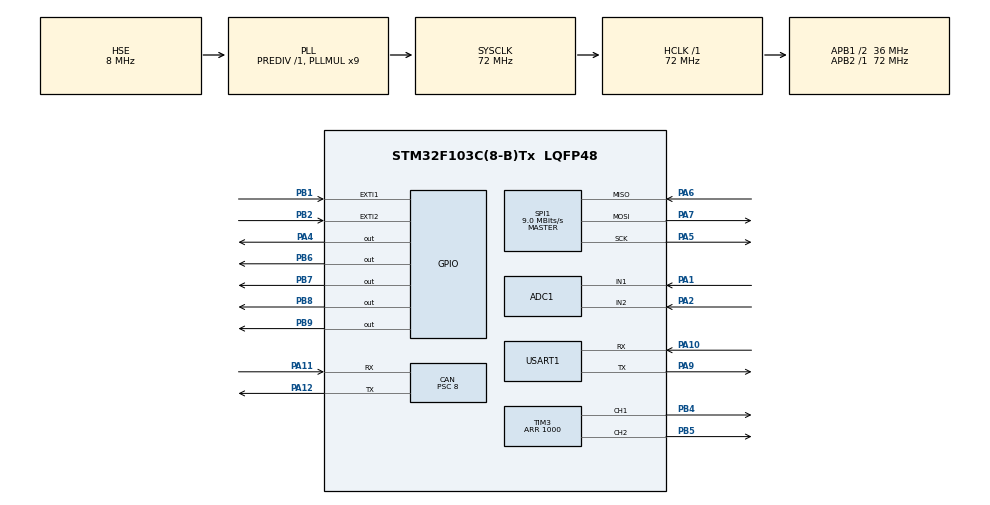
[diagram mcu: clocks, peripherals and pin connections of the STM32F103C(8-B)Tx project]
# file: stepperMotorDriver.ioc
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ADC1.Channel-0\#ChannelRegularConversion=ADC_CHANNEL_1
ADC1.NbrOfConversionFlag=1
ADC1.Rank-0\#ChannelRegularConversion=1
ADC1.SamplingTime-0\#ChannelRegularConversion=ADC_SAMPLETIME_1CYCLE_5
ADC1.master=1
CAN.BS1=CAN_BS1_1TQ
CAN.BS2=CAN_BS2_1TQ
CAN.CalculateBaudRate=1499999
CAN.CalculateTimeBit=666
CAN.CalculateTimeQuantum=222.22222222222223
CAN.Prescaler=8
Dma.Request0=USART1_RX
Dma.Request1=USART1_TX
Dma.USART1_RX.0.Direction=DMA_PERIPH_TO_MEMORY
Dma.USART1_RX.0.Instance=DMA1_Channel5
Dma.USART1_RX.0.MemDataAlignment=DMA_MDATAALIGN_BYTE
Dma.USART1_RX.0.MemInc=DMA_MINC_ENABLE
Dma.USART1_RX.0.Mode=DMA_NORMAL
Dma.USART1_RX.0.PeriphDataAlignment=DMA_PDATAALIGN_BYTE
Dma.USART1_RX.0.PeriphInc=DMA_PINC_DISABLE
Dma.USART1_RX.0.Priority=DMA_PRIORITY_LOW
Dma.USART1_TX.1.Direction=DMA_MEMORY_TO_PERIPH
Dma.USART1_TX.1.Instance=DMA1_Channel4
Dma.USART1_TX.1.MemDataAlignment=DMA_MDATAALIGN_BYTE
Dma.USART1_TX.1.MemInc=DMA_MINC_ENABLE
Dma.USART1_TX.1.Mode=DMA_NORMAL
Dma.USART1_TX.1.PeriphDataAlignment=DMA_PDATAALIGN_BYTE
Dma.USART1_TX.1.PeriphInc=DMA_PINC_DISABLE
Dma.USART1_TX.1.Priority=DMA_PRIORITY_LOW
Mcu.Family=STM32F1
Mcu.Name=STM32F103C(8-B)Tx
Mcu.Package=LQFP48
NVIC.DMA1_Channel4_IRQn=true\:0\:0\:false\:false\:true\:false\:true\:true
NVIC.DMA1_Channel5_IRQn=true\:0\:0\:false\:false\:true\:false\:true\:true
NVIC.EXTI1_IRQn=true\:0\:0\:false\:false\:true\:true\:true\:true
NVIC.EXTI2_IRQn=true\:0\:0\:false\:false\:true\:true\:true\:true
NVIC.PriorityGroup=NVIC_PRIORITYGROUP_4
NVIC.TIM1_UP_IRQn=true\:2\:0\:true\:false\:true\:true\:true\:true
NVIC.TIM2_IRQn=true\:2\:0\:true\:false\:true\:true\:true\:true
NVIC.TIM4_IRQn=true\:2\:0\:true\:false\:true\:true\:true\:true
NVIC.USART1_IRQn=true\:0\:0\:false\:false\:true\:true\:true\:true
NVIC.USB_LP_CAN1_RX0_IRQn=true\:0\:0\:false\:false\:true\:true\:true\:true
PA1.Signal=ADCx_IN1
PA10.Mode=Asynchronous
PA10.Signal=USART1_RX
PA11.Mode=CAN_Activate
PA11.Signal=CAN_RX
PA12.Mode=CAN_Activate
PA12.Signal=CAN_TX
PA13.Mode=JTAG_4_pins
PA13.Signal=SYS_JTMS-SWDIO
PA14.Mode=JTAG_4_pins
PA14.Signal=SYS_JTCK-SWCLK
PA15.Mode=JTAG_4_pins
PA15.Signal=SYS_JTDI
PA2.Signal=ADCx_IN2
PA4.Signal=GPIO_Output
PA5.Mode=Full_Duplex_Master
PA5.Signal=SPI1_SCK
PA6.Mode=Full_Duplex_Master
PA6.Signal=SPI1_MISO
PA7.Mode=Full_Duplex_Master
PA7.Signal=SPI1_MOSI
PA9.Mode=Asynchronous
PA9.Signal=USART1_TX
PB1.Signal=GPXTI1
PB2.Signal=GPXTI2
PB3.Mode=JTAG_4_pins
PB3.Signal=SYS_JTDO-TRACESWO
PB4.Signal=S_TIM3_CH1
PB5.Signal=S_TIM3_CH2
PB6.Signal=GPIO_Output
PB7.Signal=GPIO_Output
PB8.Signal=GPIO_Output
PB9.Signal=GPIO_Output
PD0-OSC_IN.Mode=HSE-External-Oscillator
PD0-OSC_IN.Signal=RCC_OSC_IN
PD1-OSC_OUT.Mode=HSE-External-Oscillator
PD1-OSC_OUT.Signal=RCC_OSC_OUT
ProjectManager.HeapSize=0x200
ProjectManager.StackSize=0x400
ProjectManager.TargetToolchain=CMake
RCC.ADCPresc=RCC_ADCPCLK2_DIV6
RCC.AHBFreq_Value=72000000
RCC.APB1CLKDivider=RCC_HCLK_DIV2
RCC.APB1Freq_Value=36000000
RCC.APB1TimFreq_Value=72000000
RCC.APB2Freq_Value=72000000
RCC.APB2TimFreq_Value=72000000
RCC.HCLKFreq_Value=72000000
RCC.PLLMUL=RCC_PLL_MUL9
RCC.PLLSourceVirtual=RCC_PLLSOURCE_HSE
RCC.SYSCLKFreq_VALUE=72000000
RCC.SYSCLKSource=RCC_SYSCLKSOURCE_PLLCLK
RCC.USBFreq_Value=72000000
SH.ADCx_IN1.0=ADC1_IN1,IN1
SH.ADCx_IN2.0=ADC1_IN2,IN2
SH.S_TIM3_CH1.0=TIM3_CH1,PWM Generation1 CH1
SH.S_TIM3_CH2.0=TIM3_CH2,PWM Generation2 CH2
SPI1.BaudRatePrescaler=SPI_BAUDRATEPRESCALER_8
SPI1.CLKPhase=SPI_PHASE_2EDGE
SPI1.CLKPolarity=SPI_POLARITY_HIGH
SPI1.CalculateBaudRate=9.0 MBits/s
SPI1.DataSize=SPI_DATASIZE_16BIT
SPI1.Direction=SPI_DIRECTION_2LINES
SPI1.Mode=SPI_MODE_MASTER
SPI1.VirtualType=VM_MASTER
TIM1.Period=10000-1
TIM1.Prescaler=72-1
TIM2.Period=50-1
TIM2.Prescaler=72-1
TIM3.Channel-PWM\ Generation1\ CH1=TIM_CHANNEL_1
TIM3.Channel-PWM\ Generation2\ CH2=TIM_CHANNEL_2
TIM3.Period=1000
TIM4.Period=5000
TIM4.Prescaler=7200-1
USART1.VirtualMode=VM_ASYNC
VP_TIM1_VS_ClockSourceINT.Mode=Internal
VP_TIM2_VS_ClockSourceINT.Mode=Internal
VP_TIM4_VS_ClockSourceINT.Mode=Internal
board=custom

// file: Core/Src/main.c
/* USER CODE BEGIN Header */
/**
  ******************************************************************************
  * @file           : main.c
  * @brief          : Main program body
  ******************************************************************************
  * @attention
  *
  * Copyright (c) 2024 STMicroelectronics.
  * All rights reserved.
  *
  * This software is licensed under terms that can be found in the LICENSE file
  * in the root directory of this software component.
  * If no LICENSE file comes with this software, it is provided AS-IS.
  *
  ******************************************************************************
  */
/* USER CODE END Header */
#include "main.h"

/* USER CODE BEGIN Includes */
//#include "utils.h"

// #include "adc.h"
// #include "can.h"
// #include "dma.h"
// #include "spi.h"
// #include "tim.h"
// #include "usart.h"
// #include "gpio.h"
/* USER CODE END Includes */

/* USER CODE BEGIN PTD */

#ifndef __cplusplus
#ifndef _BOOL
typedef unsigned char bool;
static const bool False = 0;
static const bool True = 1;
#endif
#endif

#define AIN1_Pin GPIO_PIN_6
#define AIN2_Pin GPIO_PIN_7
#define BIN1_Pin GPIO_PIN_8
#define BIN2_Pin GPIO_PIN_9

/* USER CODE END PTD */

ADC_HandleTypeDef hadc1;

CAN_HandleTypeDef hcan;

SPI_HandleTypeDef hspi1;

TIM_HandleTypeDef htim1;
TIM_HandleTypeDef htim2;
TIM_HandleTypeDef htim3;
TIM_HandleTypeDef htim4;

UART_HandleTypeDef huart1;
DMA_HandleTypeDef hdma_usart1_rx;
DMA_HandleTypeDef hdma_usart1_tx;

void SystemClock_Config(void);
static void MX_GPIO_Init(void);
static void MX_DMA_Init(void);
static void MX_ADC1_Init(void);
static void MX_CAN_Init(void);
static void MX_SPI1_Init(void);
static void MX_TIM3_Init(void);
static void MX_USART1_UART_Init(void);
static void MX_TIM1_Init(void);
static void MX_TIM2_Init(void);
static void MX_TIM4_Init(void);
/* USER CODE BEGIN PFP */
uint16_t MT6816Read();
void stepMotor(int step);
void stepMotorStop();
/* USER CODE END PFP */

int main(void)
{

  /* MCU Configuration--------------------------------------------------------*/

  /* Reset of all peripherals, Initializes the Flash interface and the Systick. */
  HAL_Init();

  /* Configure the system clock */
  SystemClock_Config();

  /* Initialize all configured peripherals */
  MX_GPIO_Init();
  MX_DMA_Init();
  MX_ADC1_Init();
  MX_CAN_Init();
  MX_SPI1_Init();
  MX_TIM3_Init();
  MX_USART1_UART_Init();
  MX_TIM1_Init();
  MX_TIM2_Init();
  MX_TIM4_Init();
  /* USER CODE BEGIN 2 */

    // 设置GPIO
  //printf(" 0GPIO PB8 set to high\n");
  HAL_GPIO_WritePin(GPIOB, GPIO_PIN_8, GPIO_PIN_SET);
  //printf(" 1GPIO PB9 set to high\n");
  HAL_GPIO_WritePin(GPIOB, GPIO_PIN_9, GPIO_PIN_SET);
  GPIO_PinState pinState;

  // 设置PWM
  HAL_TIM_PWM_Start(&htim3, TIM_CHANNEL_1);  // 启动通道 1
  HAL_TIM_PWM_Start(&htim3, TIM_CHANNEL_2);  // 启动通道 2
  __HAL_TIM_SET_COMPARE(&htim3, TIM_CHANNEL_1, 50); // 50% 占空�????
  __HAL_TIM_SET_COMPARE(&htim3, TIM_CHANNEL_2, 50); // 50% 占空�????
  //printf(" 2PWM pin PB5 set to 1.8V\n");
  //printf(" 3PWM pin PB4 set to 1.8V\n");
  /* 启动 PWM 通道 */

  /* USER CODE END 2 */

  /* Infinite loop */
  while (1)
  {

  }
}

void SystemClock_Config(void)
{
  RCC_OscInitTypeDef RCC_OscInitStruct = {0};
  RCC_ClkInitTypeDef RCC_ClkInitStruct = {0};
  RCC_PeriphCLKInitTypeDef PeriphClkInit = {0};

  /** Initializes the RCC Oscillators according to the specified parameters
  * in the RCC_OscInitTypeDef structure.
  */
  RCC_OscInitStruct.OscillatorType = RCC_OSCILLATORTYPE_HSE;
  RCC_OscInitStruct.HSEState = RCC_HSE_ON;
  RCC_OscInitStruct.HSEPredivValue = RCC_HSE_PREDIV_DIV1;
  RCC_OscInitStruct.HSIState = RCC_HSI_ON;
  RCC_OscInitStruct.PLL.PLLState = RCC_PLL_ON;
  RCC_OscInitStruct.PLL.PLLSource = RCC_PLLSOURCE_HSE;
  RCC_OscInitStruct.PLL.PLLMUL = RCC_PLL_MUL9;
  if (HAL_RCC_OscConfig(&RCC_OscInitStruct) != HAL_OK)
  {
    Error_Handler();
  }

  /** Initializes the CPU, AHB and APB buses clocks
  */
  RCC_ClkInitStruct.ClockType = RCC_CLOCKTYPE_HCLK|RCC_CLOCKTYPE_SYSCLK
                              |RCC_CLOCKTYPE_PCLK1|RCC_CLOCKTYPE_PCLK2;
  RCC_ClkInitStruct.SYSCLKSource = RCC_SYSCLKSOURCE_PLLCLK;
  RCC_ClkInitStruct.AHBCLKDivider = RCC_SYSCLK_DIV1;
  RCC_ClkInitStruct.APB1CLKDivider = RCC_HCLK_DIV2;
  RCC_ClkInitStruct.APB2CLKDivider = RCC_HCLK_DIV1;

  if (HAL_RCC_ClockConfig(&RCC_ClkInitStruct, FLASH_LATENCY_2) != HAL_OK)
  {
    Error_Handler();
  }
  PeriphClkInit.PeriphClockSelection = RCC_PERIPHCLK_ADC;
  PeriphClkInit.AdcClockSelection = RCC_ADCPCLK2_DIV6;
  if (HAL_RCCEx_PeriphCLKConfig(&PeriphClkInit) != HAL_OK)
  {
    Error_Handler();
  }
}

static void MX_ADC1_Init(void)
{

  ADC_ChannelConfTypeDef sConfig = {0};

  /** Common config
  */
  hadc1.Instance = ADC1;
  hadc1.Init.ScanConvMode = ADC_SCAN_DISABLE;
  hadc1.Init.ContinuousConvMode = DISABLE;
  hadc1.Init.DiscontinuousConvMode = DISABLE;
  hadc1.Init.ExternalTrigConv = ADC_SOFTWARE_START;
  hadc1.Init.DataAlign = ADC_DATAALIGN_RIGHT;
  hadc1.Init.NbrOfConversion = 1;
  if (HAL_ADC_Init(&hadc1) != HAL_OK)
  {
    Error_Handler();
  }

  /** Configure Regular Channel
  */
  sConfig.Channel = ADC_CHANNEL_1;
  sConfig.Rank = ADC_REGULAR_RANK_1;
  sConfig.SamplingTime = ADC_SAMPLETIME_1CYCLE_5;
  if (HAL_ADC_ConfigChannel(&hadc1, &sConfig) != HAL_OK)
  {
    Error_Handler();
  }

}

static void MX_CAN_Init(void)
{

  hcan.Instance = CAN1;
  hcan.Init.Prescaler = 8;
  hcan.Init.Mode = CAN_MODE_NORMAL;
  hcan.Init.SyncJumpWidth = CAN_SJW_1TQ;
  hcan.Init.TimeSeg1 = CAN_BS1_1TQ;
  hcan.Init.TimeSeg2 = CAN_BS2_1TQ;
  hcan.Init.TimeTriggeredMode = DISABLE;
  hcan.Init.AutoBusOff = DISABLE;
  hcan.Init.AutoWakeUp = DISABLE;
  hcan.Init.AutoRetransmission = DISABLE;
  hcan.Init.ReceiveFifoLocked = DISABLE;
  hcan.Init.TransmitFifoPriority = DISABLE;
  if (HAL_CAN_Init(&hcan) != HAL_OK)
  {
    Error_Handler();
  }

}

static void MX_SPI1_Init(void)
{

  /* SPI1 parameter configuration*/
  hspi1.Instance = SPI1;
  hspi1.Init.Mode = SPI_MODE_MASTER;
  hspi1.Init.Direction = SPI_DIRECTION_2LINES;
  hspi1.Init.DataSize = SPI_DATASIZE_16BIT;
  hspi1.Init.CLKPolarity = SPI_POLARITY_HIGH;
  hspi1.Init.CLKPhase = SPI_PHASE_2EDGE;
  hspi1.Init.NSS = SPI_NSS_SOFT;
  hspi1.Init.BaudRatePrescaler = SPI_BAUDRATEPRESCALER_8;
  hspi1.Init.FirstBit = SPI_FIRSTBIT_MSB;
  hspi1.Init.TIMode = SPI_TIMODE_DISABLE;
  hspi1.Init.CRCCalculation = SPI_CRCCALCULATION_DISABLE;
  hspi1.Init.CRCPolynomial = 10;
  if (HAL_SPI_Init(&hspi1) != HAL_OK)
  {
    Error_Handler();
  }

}

static void MX_TIM1_Init(void)
{

  TIM_ClockConfigTypeDef sClockSourceConfig = {0};
  TIM_MasterConfigTypeDef sMasterConfig = {0};

  htim1.Instance = TIM1;
  htim1.Init.Prescaler = 72-1;
  htim1.Init.CounterMode = TIM_COUNTERMODE_UP;
  htim1.Init.Period = 10000-1;
  htim1.Init.ClockDivision = TIM_CLOCKDIVISION_DIV1;
  htim1.Init.RepetitionCounter = 0;
  htim1.Init.AutoReloadPreload = TIM_AUTORELOAD_PRELOAD_DISABLE;
  if (HAL_TIM_Base_Init(&htim1) != HAL_OK)
  {
    Error_Handler();
  }
  sClockSourceConfig.ClockSource = TIM_CLOCKSOURCE_INTERNAL;
  if (HAL_TIM_ConfigClockSource(&htim1, &sClockSourceConfig) != HAL_OK)
  {
    Error_Handler();
  }
  sMasterConfig.MasterOutputTrigger = TIM_TRGO_RESET;
  sMasterConfig.MasterSlaveMode = TIM_MASTERSLAVEMODE_DISABLE;
  if (HAL_TIMEx_MasterConfigSynchronization(&htim1, &sMasterConfig) != HAL_OK)
  {
    Error_Handler();
  }

}

static void MX_TIM2_Init(void)
{

  TIM_ClockConfigTypeDef sClockSourceConfig = {0};
  TIM_MasterConfigTypeDef sMasterConfig = {0};

  htim2.Instance = TIM2;
  htim2.Init.Prescaler = 72-1;
  htim2.Init.CounterMode = TIM_COUNTERMODE_UP;
  htim2.Init.Period = 50-1;
  htim2.Init.ClockDivision = TIM_CLOCKDIVISION_DIV1;
  htim2.Init.AutoReloadPreload = TIM_AUTORELOAD_PRELOAD_DISABLE;
  if (HAL_TIM_Base_Init(&htim2) != HAL_OK)
  {
    Error_Handler();
  }
  sClockSourceConfig.ClockSource = TIM_CLOCKSOURCE_INTERNAL;
  if (HAL_TIM_ConfigClockSource(&htim2, &sClockSourceConfig) != HAL_OK)
  {
    Error_Handler();
  }
  sMasterConfig.MasterOutputTrigger = TIM_TRGO_RESET;
  sMasterConfig.MasterSlaveMode = TIM_MASTERSLAVEMODE_DISABLE;
  if (HAL_TIMEx_MasterConfigSynchronization(&htim2, &sMasterConfig) != HAL_OK)
  {
    Error_Handler();
  }

}

static void MX_TIM3_Init(void)
{

  TIM_MasterConfigTypeDef sMasterConfig = {0};
  TIM_OC_InitTypeDef sConfigOC = {0};

  htim3.Instance = TIM3;
  htim3.Init.Prescaler = 0;
  htim3.Init.CounterMode = TIM_COUNTERMODE_UP;
  htim3.Init.Period = 1000;
  htim3.Init.ClockDivision = TIM_CLOCKDIVISION_DIV1;
  htim3.Init.AutoReloadPreload = TIM_AUTORELOAD_PRELOAD_DISABLE;
  if (HAL_TIM_PWM_Init(&htim3) != HAL_OK)
  {
    Error_Handler();
  }
  sMasterConfig.MasterOutputTrigger = TIM_TRGO_RESET;
  sMasterConfig.MasterSlaveMode = TIM_MASTERSLAVEMODE_DISABLE;
  if (HAL_TIMEx_MasterConfigSynchronization(&htim3, &sMasterConfig) != HAL_OK)
  {
    Error_Handler();
  }
  sConfigOC.OCMode = TIM_OCMODE_PWM1;
  sConfigOC.Pulse = 0;
  sConfigOC.OCPolarity = TIM_OCPOLARITY_HIGH;
  sConfigOC.OCFastMode = TIM_OCFAST_DISABLE;
  if (HAL_TIM_PWM_ConfigChannel(&htim3, &sConfigOC, TIM_CHANNEL_1) != HAL_OK)
  {
    Error_Handler();
  }
  if (HAL_TIM_PWM_ConfigChannel(&htim3, &sConfigOC, TIM_CHANNEL_2) != HAL_OK)
  {
    Error_Handler();
  }
  HAL_TIM_MspPostInit(&htim3);

}

static void MX_TIM4_Init(void)
{

  TIM_ClockConfigTypeDef sClockSourceConfig = {0};
  TIM_MasterConfigTypeDef sMasterConfig = {0};

  htim4.Instance = TIM4;
  htim4.Init.Prescaler = 7200-1;
  htim4.Init.CounterMode = TIM_COUNTERMODE_UP;
  htim4.Init.Period = 5000;
  htim4.Init.ClockDivision = TIM_CLOCKDIVISION_DIV1;
  htim4.Init.AutoReloadPreload = TIM_AUTORELOAD_PRELOAD_DISABLE;
  if (HAL_TIM_Base_Init(&htim4) != HAL_OK)
  {
    Error_Handler();
  }
  sClockSourceConfig.ClockSource = TIM_CLOCKSOURCE_INTERNAL;
  if (HAL_TIM_ConfigClockSource(&htim4, &sClockSourceConfig) != HAL_OK)
  {
    Error_Handler();
  }
  sMasterConfig.MasterOutputTrigger = TIM_TRGO_RESET;
  sMasterConfig.MasterSlaveMode = TIM_MASTERSLAVEMODE_DISABLE;
  if (HAL_TIMEx_MasterConfigSynchronization(&htim4, &sMasterConfig) != HAL_OK)
  {
    Error_Handler();
  }

}

static void MX_USART1_UART_Init(void)
{

  huart1.Instance = USART1;
  huart1.Init.BaudRate = 115200;
  huart1.Init.WordLength = UART_WORDLENGTH_8B;
  huart1.Init.StopBits = UART_STOPBITS_1;
  huart1.Init.Parity = UART_PARITY_NONE;
  huart1.Init.Mode = UART_MODE_TX_RX;
  huart1.Init.HwFlowCtl = UART_HWCONTROL_NONE;
  huart1.Init.OverSampling = UART_OVERSAMPLING_16;
  if (HAL_UART_Init(&huart1) != HAL_OK)
  {
    Error_Handler();
  }

}

static void MX_DMA_Init(void)
{

  /* DMA controller clock enable */
  __HAL_RCC_DMA1_CLK_ENABLE();

  /* DMA interrupt init */
  /* DMA1_Channel4_IRQn interrupt configuration */
  HAL_NVIC_SetPriority(DMA1_Channel4_IRQn, 0, 0);
  HAL_NVIC_EnableIRQ(DMA1_Channel4_IRQn);
  /* DMA1_Channel5_IRQn interrupt configuration */
  HAL_NVIC_SetPriority(DMA1_Channel5_IRQn, 0, 0);
  HAL_NVIC_EnableIRQ(DMA1_Channel5_IRQn);

}

static void MX_GPIO_Init(void)
{
  GPIO_InitTypeDef GPIO_InitStruct = {0};

  /* GPIO Ports Clock Enable */
  __HAL_RCC_GPIOD_CLK_ENABLE();
  __HAL_RCC_GPIOA_CLK_ENABLE();
  __HAL_RCC_GPIOB_CLK_ENABLE();

  /*Configure GPIO pin Output Level */
  HAL_GPIO_WritePin(GPIOA, GPIO_PIN_4, GPIO_PIN_RESET);

  /*Configure GPIO pin Output Level */
  HAL_GPIO_WritePin(GPIOB, GPIO_PIN_6|GPIO_PIN_7|GPIO_PIN_8|GPIO_PIN_9, GPIO_PIN_RESET);

  /*Configure GPIO pin : PA4 */
  GPIO_InitStruct.Pin = GPIO_PIN_4;
  GPIO_InitStruct.Mode = GPIO_MODE_OUTPUT_PP;
  GPIO_InitStruct.Pull = GPIO_NOPULL;
  GPIO_InitStruct.Speed = GPIO_SPEED_FREQ_LOW;
  HAL_GPIO_Init(GPIOA, &GPIO_InitStruct);

  /*Configure GPIO pins : PB1 PB2 */
  GPIO_InitStruct.Pin = GPIO_PIN_1|GPIO_PIN_2;
  GPIO_InitStruct.Mode = GPIO_MODE_IT_RISING;
  GPIO_InitStruct.Pull = GPIO_NOPULL;
  HAL_GPIO_Init(GPIOB, &GPIO_InitStruct);

  /*Configure GPIO pins : PB6 PB7 PB8 PB9 */
  GPIO_InitStruct.Pin = GPIO_PIN_6|GPIO_PIN_7|GPIO_PIN_8|GPIO_PIN_9;
  GPIO_InitStruct.Mode = GPIO_MODE_OUTPUT_PP;
  GPIO_InitStruct.Pull = GPIO_NOPULL;
  GPIO_InitStruct.Speed = GPIO_SPEED_FREQ_LOW;
  HAL_GPIO_Init(GPIOB, &GPIO_InitStruct);

  /* EXTI interrupt init*/
  HAL_NVIC_SetPriority(EXTI1_IRQn, 0, 0);
  HAL_NVIC_EnableIRQ(EXTI1_IRQn);

  HAL_NVIC_SetPriority(EXTI2_IRQn, 0, 0);
  HAL_NVIC_EnableIRQ(EXTI2_IRQn);

}

/* USER CODE BEGIN 4 */

uint16_t MT6816Read(void) {
  uint16_t data_t[2];
  uint16_t data_r[2];
  uint16_t rawData;
  data_t[0] = (0x80 | 0x03) << 8;
  data_t[1] = (0x80 | 0x04) << 8;
  //dataTx[0] = (0x80 | 0x03) << 8;
  //dataTx[1] = (0x80 | 0x04) << 8;
  uint16_t rawAngle;
  //uint16_t rectifiedAngle;
  bool checksumFlag = False;

  for (uint8_t i = 0; i < 3; i++) {
    HAL_GPIO_WritePin(GPIOA, GPIO_PIN_4, GPIO_PIN_RESET);
    //GPIOA->BRR = GPIO_PIN_4;
    HAL_SPI_TransmitReceive(&hspi1, (uint8_t*) &data_t[0], (uint8_t*) &data_r[0], 1, HAL_MAX_DELAY);
    //GPIOA->BSRR = GPIO_PIN_4;
    HAL_GPIO_WritePin(GPIOA, GPIO_PIN_4, GPIO_PIN_SET);

    HAL_GPIO_WritePin(GPIOA, GPIO_PIN_4, GPIO_PIN_RESET);
    //GPIOA->BRR = GPIO_PIN_4;
    HAL_SPI_TransmitReceive(&hspi1, (uint8_t*) &data_t[1], (uint8_t*) &data_r[1], 1, HAL_MAX_DELAY);
    //GPIOA->BSRR = GPIO_PIN_4;
    HAL_GPIO_WritePin(GPIOA, GPIO_PIN_4, GPIO_PIN_SET);

    rawData = ((data_r[0] & 0x00FF) << 8) | (data_r[1] & 0x00FF);

    uint16_t hCount = 0;
        for (uint8_t j = 0; j < 16; j++)
        {
            if (rawData & (0x0001 << j))
                hCount++;
        }
        if (hCount & 0x01)
        {
            checksumFlag = False;
        } else
        {
            checksumFlag = True;
            break;
        }
  }

  //printf(" 0 rawData%u\n", rawData);

  if (checksumFlag) {
    rawAngle = rawData >> 2;
    //printf(" 8MT6816 %u, %u\n", data_r[0], data_r[1]);
    //no_mag_flag = (bool) (rawData & 0x0010);
    //printf(" 8MT6816 read ok\n");
  }
  else {
    //printf(" 8MT6816 read not ok\n");
  }
  return rawAngle;
}

void stepMotor(int step)
{
    switch(step % 8)
    {
        case 0:
            HAL_GPIO_WritePin(GPIOB, AIN1_Pin, GPIO_PIN_SET);
            HAL_GPIO_WritePin(GPIOB, AIN2_Pin, GPIO_PIN_RESET);
            HAL_GPIO_WritePin(GPIOB, BIN1_Pin, GPIO_PIN_RESET);
            HAL_GPIO_WritePin(GPIOB, BIN2_Pin, GPIO_PIN_RESET);
            break;
        case 1:
            HAL_GPIO_WritePin(GPIOB, AIN1_Pin, GPIO_PIN_SET);
            HAL_GPIO_WritePin(GPIOB, AIN2_Pin, GPIO_PIN_RESET);
            HAL_GPIO_WritePin(GPIOB, BIN1_Pin, GPIO_PIN_SET);
            HAL_GPIO_WritePin(GPIOB, BIN2_Pin, GPIO_PIN_RESET);
            break;
        case 2:
            HAL_GPIO_WritePin(GPIOB, AIN1_Pin, GPIO_PIN_RESET);
            HAL_GPIO_WritePin(GPIOB, AIN2_Pin, GPIO_PIN_RESET);
            HAL_GPIO_WritePin(GPIOB, BIN1_Pin, GPIO_PIN_SET);
            HAL_GPIO_WritePin(GPIOB, BIN2_Pin, GPIO_PIN_RESET);
            break;
        case 3:
            HAL_GPIO_WritePin(GPIOB, AIN1_Pin, GPIO_PIN_RESET);
            HAL_GPIO_WritePin(GPIOB, AIN2_Pin, GPIO_PIN_SET);
            HAL_GPIO_WritePin(GPIOB, BIN1_Pin, GPIO_PIN_SET);
            HAL_GPIO_WritePin(GPIOB, BIN2_Pin, GPIO_PIN_RESET);
            break;
        case 4:
            HAL_GPIO_WritePin(GPIOB, AIN1_Pin, GPIO_PIN_RESET);
            HAL_GPIO_WritePin(GPIOB, AIN2_Pin, GPIO_PIN_SET);
            HAL_GPIO_WritePin(GPIOB, BIN1_Pin, GPIO_PIN_RESET);
            HAL_GPIO_WritePin(GPIOB, BIN2_Pin, GPIO_PIN_RESET);
            break;
        case 5:
            HAL_GPIO_WritePin(GPIOB, AIN1_Pin, GPIO_PIN_RESET);
            HAL_GPIO_WritePin(GPIOB, AIN2_Pin, GPIO_PIN_SET);
            HAL_GPIO_WritePin(GPIOB, BIN1_Pin, GPIO_PIN_RESET);
            HAL_GPIO_WritePin(GPIOB, BIN2_Pin, GPIO_PIN_SET);
            break;
        case 6:
            HAL_GPIO_WritePin(GPIOB, AIN1_Pin, GPIO_PIN_RESET);
            HAL_GPIO_WritePin(GPIOB, AIN2_Pin, GPIO_PIN_RESET);
            HAL_GPIO_WritePin(GPIOB, BIN1_Pin, GPIO_PIN_RESET);
            HAL_GPIO_WritePin(GPIOB, BIN2_Pin, GPIO_PIN_SET);
            break;
        case 7:
            HAL_GPIO_WritePin(GPIOB, AIN1_Pin, GPIO_PIN_SET);
            HAL_GPIO_WritePin(GPIOB, AIN2_Pin, GPIO_PIN_RESET);
            HAL_GPIO_WritePin(GPIOB, BIN1_Pin, GPIO_PIN_RESET);
            HAL_GPIO_WritePin(GPIOB, BIN2_Pin, GPIO_PIN_SET);
            break;
    }
}

void stepMotorStop() {
  HAL_GPIO_WritePin(GPIOB, AIN1_Pin, GPIO_PIN_RESET);
  HAL_GPIO_WritePin(GPIOB, AIN2_Pin, GPIO_PIN_RESET);
  HAL_GPIO_WritePin(GPIOB, BIN1_Pin, GPIO_PIN_RESET);
  HAL_GPIO_WritePin(GPIOB, BIN2_Pin, GPIO_PIN_RESET);
}

/* USER CODE END 4 */

void Error_Handler(void)
{
  __disable_irq();
  while (1)
  {
  }
}
